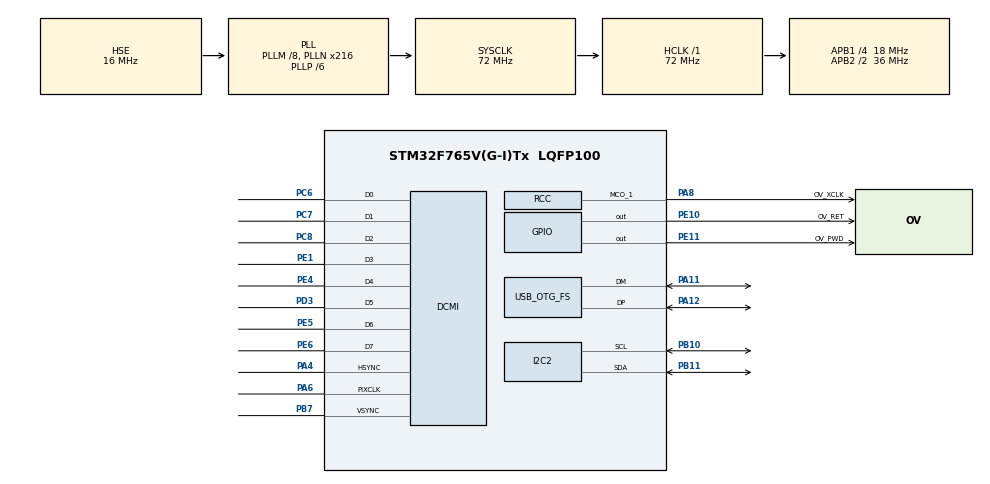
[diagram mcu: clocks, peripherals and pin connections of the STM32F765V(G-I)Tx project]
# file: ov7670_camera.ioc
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CORTEX_M7.default_mode_Activation=1
DCMI.JPEGMode=DCMI_JPEG_DISABLE
DCMI.PCKPolarity=DCMI_PCKPOLARITY_RISING
DCMI.VSPolarity=DCMI_VSPOLARITY_HIGH
Dma.DCMI.0.Direction=DMA_PERIPH_TO_MEMORY
Dma.DCMI.0.FIFOMode=DMA_FIFOMODE_DISABLE
Dma.DCMI.0.Instance=DMA2_Stream1
Dma.DCMI.0.MemDataAlignment=DMA_MDATAALIGN_WORD
Dma.DCMI.0.MemInc=DMA_MINC_ENABLE
Dma.DCMI.0.Mode=DMA_NORMAL
Dma.DCMI.0.PeriphDataAlignment=DMA_PDATAALIGN_WORD
Dma.DCMI.0.PeriphInc=DMA_PINC_DISABLE
Dma.DCMI.0.Priority=DMA_PRIORITY_LOW
Dma.Request0=DCMI
I2C2.Timing=0x20404768
Mcu.Family=STM32F7
Mcu.Name=STM32F765V(G-I)Tx
Mcu.Package=LQFP100
NVIC.DCMI_IRQn=true\:0\:0\:false\:false\:true\:true\:true\:true
NVIC.DMA2_Stream1_IRQn=true\:0\:0\:false\:false\:true\:false\:true\:true
NVIC.OTG_FS_IRQn=true\:0\:0\:false\:false\:true\:false\:true\:true
NVIC.PriorityGroup=NVIC_PRIORITYGROUP_4
PA11.Mode=Device_Only
PA11.Signal=USB_OTG_FS_DM
PA12.Mode=Device_Only
PA12.Signal=USB_OTG_FS_DP
PA13.Mode=Serial_Wire
PA13.Signal=SYS_JTMS-SWDIO
PA14.Mode=Serial_Wire
PA14.Signal=SYS_JTCK-SWCLK
PA4.GPIO_PuPd=GPIO_PULLDOWN
PA4.GPIO_Speed=GPIO_SPEED_FREQ_VERY_HIGH
PA4.Mode=Slave_8_bits_External_Synchro
PA4.Signal=DCMI_HSYNC
PA6.GPIO_PuPd=GPIO_PULLDOWN
PA6.GPIO_Speed=GPIO_SPEED_FREQ_VERY_HIGH
PA6.Mode=Slave_8_bits_External_Synchro
PA6.Signal=DCMI_PIXCLK
PA8.GPIO_Label=OV_XCLK
PA8.GPIO_Speed=GPIO_SPEED_FREQ_VERY_HIGH
PA8.Mode=Clock-out-1
PA8.Signal=RCC_MCO_1
PB10.GPIO_Pu=GPIO_PULLUP
PB10.Mode=I2C
PB10.Signal=I2C2_SCL
PB11.GPIO_Pu=GPIO_PULLUP
PB11.Mode=I2C
PB11.Signal=I2C2_SDA
PB7.GPIO_PuPd=GPIO_PULLDOWN
PB7.GPIO_Speed=GPIO_SPEED_FREQ_VERY_HIGH
PB7.Mode=Slave_8_bits_External_Synchro
PB7.Signal=DCMI_VSYNC
PC6.GPIO_PuPd=GPIO_PULLDOWN
PC6.GPIO_Speed=GPIO_SPEED_FREQ_VERY_HIGH
PC6.Mode=Slave_8_bits_External_Synchro
PC6.Signal=DCMI_D0
PC7.GPIO_PuPd=GPIO_PULLDOWN
PC7.GPIO_Speed=GPIO_SPEED_FREQ_VERY_HIGH
PC7.Mode=Slave_8_bits_External_Synchro
PC7.Signal=DCMI_D1
PC8.GPIO_PuPd=GPIO_PULLDOWN
PC8.GPIO_Speed=GPIO_SPEED_FREQ_VERY_HIGH
PC8.Mode=Slave_8_bits_External_Synchro
PC8.Signal=DCMI_D2
PD3.GPIO_PuPd=GPIO_PULLDOWN
PD3.GPIO_Speed=GPIO_SPEED_FREQ_VERY_HIGH
PD3.Mode=Slave_8_bits_External_Synchro
PD3.Signal=DCMI_D5
PE1.GPIO_PuPd=GPIO_PULLDOWN
PE1.GPIO_Speed=GPIO_SPEED_FREQ_VERY_HIGH
PE1.Mode=Slave_8_bits_External_Synchro
PE1.Signal=DCMI_D3
PE10.GPIO_Label=OV_RET
PE10.Signal=GPIO_Output
PE11.GPIO_Label=OV_PWD
PE11.Signal=GPIO_Output
PE4.GPIO_PuPd=GPIO_PULLDOWN
PE4.GPIO_Speed=GPIO_SPEED_FREQ_VERY_HIGH
PE4.Mode=Slave_8_bits_External_Synchro
PE4.Signal=DCMI_D4
PE5.GPIO_PuPd=GPIO_PULLDOWN
PE5.GPIO_Speed=GPIO_SPEED_FREQ_VERY_HIGH
PE5.Mode=Slave_8_bits_External_Synchro
PE5.Signal=DCMI_D6
PE6.GPIO_PuPd=GPIO_PULLDOWN
PE6.GPIO_Speed=GPIO_SPEED_FREQ_VERY_HIGH
PE6.Mode=Slave_8_bits_External_Synchro
PE6.Signal=DCMI_D7
PH0/OSC_IN.Mode=HSE-External-Oscillator
PH0/OSC_IN.Signal=RCC_OSC_IN
PH1/OSC_OUT.Mode=HSE-External-Oscillator
PH1/OSC_OUT.Signal=RCC_OSC_OUT
ProjectManager.HeapSize=0x200
ProjectManager.StackSize=0x400
ProjectManager.TargetToolchain=CMake
RCC.AHBFreq_Value=72000000
RCC.APB1CLKDivider=RCC_HCLK_DIV4
RCC.APB1Freq_Value=18000000
RCC.APB1TimFreq_Value=36000000
RCC.APB2CLKDivider=RCC_HCLK_DIV2
RCC.APB2Freq_Value=36000000
RCC.APB2TimFreq_Value=72000000
RCC.CortexFreq_Value=72000000
RCC.HCLKFreq_Value=72000000
RCC.HSE_VALUE=16000000
RCC.HSI_VALUE=16000000
RCC.LSE_VALUE=32768
RCC.PLLM=8
RCC.PLLN=216
RCC.PLLP=RCC_PLLP_DIV6
RCC.PLLQ=9
RCC.RCC_MCO1Source=RCC_MCO1SOURCE_PLLCLK
RCC.RCC_MCODiv1=RCC_MCODIV_3
RCC.SYSCLKFreq_VALUE=72000000
RCC.SYSCLKSource=RCC_SYSCLKSOURCE_PLLCLK
RCC.USBFreq_Value=48000000
RCC.VCOOutputFreq_Value=432000000
USB_DEVICE.CLASS_NAME_FS=CDC
USB_DEVICE.VirtualMode-CDC_FS=Cdc
USB_DEVICE.VirtualModeFS=Cdc_FS
USB_OTG_FS.VirtualMode=Device_Only
VP_USB_DEVICE_VS_USB_DEVICE_CDC_FS.Mode=CDC_FS
board=custom

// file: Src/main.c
/* USER CODE BEGIN Header */
/**
 ******************************************************************************
 * @file           : main.c
 * @brief          : Main program body
 ******************************************************************************
 * @attention
 *
 * Copyright (c) 2026 STMicroelectronics.
 * All rights reserved.
 *
 * This software is licensed under terms that can be found in the LICENSE file
 * in the root directory of this software component.
 * If no LICENSE file comes with this software, it is provided AS-IS.
 *
 ******************************************************************************
 */
/* USER CODE END Header */
#include "main.h"
#include "usb_device.h"

/* USER CODE BEGIN Includes */
#include "my_usb.h"
#include "usbd_cdc_if.h"
#include <stdint.h>
/* USER CODE END Includes */

/* USER CODE BEGIN PD */
#define CHUNK_SIZE 512
#define OV7670_ADDR (0x21 << 1)
#ifndef MIN
#define MIN(a, b) ((a) < (b) ? (a) : (b))
#endif
/* USER CODE END PD */

DCMI_HandleTypeDef hdcmi;
DMA_HandleTypeDef hdma_dcmi;

I2C_HandleTypeDef hi2c2;

/* USER CODE BEGIN PV */
volatile uint8_t frame_ready = 0;
uint8_t frame_buffer[320 * 240 * 2] __attribute__((section(".sram")));

/* USER CODE END PV */

void SystemClock_Config(void);
static void MPU_Config(void);
static void MX_GPIO_Init(void);
static void MX_DMA_Init(void);
static void MX_DCMI_Init(void);
static void MX_I2C2_Init(void);
/* USER CODE BEGIN PFP */
void HAL_DCMI_FrameEventCallback(DCMI_HandleTypeDef* hdcmi);
void capture_and_send(void);
void OV7670_HardwareReset(void);
uint8_t OV7670_ReadReg(uint8_t reg);
void OV7670_WriteReg(uint8_t reg, uint8_t value);
void send_frame_usb(void);
static void OV7670_Init_QVGA_RGB565(void);
static void OV7670_BarsTest(void);
/* USER CODE END PFP */

int main(void) {

    /* MPU Configuration--------------------------------------------------------*/
    MPU_Config();

    /* MCU Configuration--------------------------------------------------------*/

    /* Reset of all peripherals, Initializes the Flash interface and the Systick. */
    HAL_Init();

    /* Configure the system clock */
    SystemClock_Config();

    /* Initialize all configured peripherals */
    MX_GPIO_Init();
    MX_DMA_Init();
    MX_DCMI_Init();
    MX_I2C2_Init();
    MX_USB_DEVICE_Init();
    /* USER CODE BEGIN 2 */
    HAL_Delay(3000);

    USB_Print("Resetting OV7670 Camera\r\n");
    OV7670_HardwareReset();
    USB_Print("Validating PID and Version of OV7670 Camera\r\n");
    uint8_t pid = OV7670_ReadReg(0x0A);
    uint8_t ver = OV7670_ReadReg(0x0B);
    USB_Print("PID: %02X VER: %02X\r\n", pid, ver);

    if (pid == 0x76) {
        USB_Print("OV7670 detected\r\n");

        OV7670_Init_QVGA_RGB565();

        USB_Print("OV7670 configured\r\n");
    } else {
        USB_Print("Camera not detected\r\n");
        exit(-1);
    }

    USB_Print("COM7  = %02X\r\n", OV7670_ReadReg(0x12));
    USB_Print("CLKRC = %02X\r\n", OV7670_ReadReg(0x11));
    USB_Print("COM15 = %02X\r\n", OV7670_ReadReg(0x40));
    USB_Print("RGB444= %02X\r\n", OV7670_ReadReg(0x8C));

    USB_Print("Beginning Capture and Transmit Sequence with OV7670\r\n");
    OV7670_Init_QVGA_RGB565();
    USB_Print("Performing Bar Test");
    OV7670_BarsTest();
    /* USER CODE END 2 */

    /* Infinite loop */
    /* USER CODE BEGIN WHILE */
    while (1) {
        USB_Print("Sending Frame!!!!!!");
        capture_and_send();
        send_frame_usb();
        USB_Print("Frame sent\r\n");
        HAL_Delay(1000);
        /* USER CODE END WHILE */

    }
}

void SystemClock_Config(void) {
    RCC_OscInitTypeDef RCC_OscInitStruct = {0};
    RCC_ClkInitTypeDef RCC_ClkInitStruct = {0};

    /** Configure the main internal regulator output voltage
     */
    __HAL_RCC_PWR_CLK_ENABLE();
    __HAL_PWR_VOLTAGESCALING_CONFIG(PWR_REGULATOR_VOLTAGE_SCALE3);

    /** Initializes the RCC Oscillators according to the specified parameters
     * in the RCC_OscInitTypeDef structure.
     */
    RCC_OscInitStruct.OscillatorType = RCC_OSCILLATORTYPE_HSE;
    RCC_OscInitStruct.HSEState = RCC_HSE_ON;
    RCC_OscInitStruct.PLL.PLLState = RCC_PLL_ON;
    RCC_OscInitStruct.PLL.PLLSource = RCC_PLLSOURCE_HSE;
    RCC_OscInitStruct.PLL.PLLM = 8;
    RCC_OscInitStruct.PLL.PLLN = 216;
    RCC_OscInitStruct.PLL.PLLP = RCC_PLLP_DIV6;
    RCC_OscInitStruct.PLL.PLLQ = 9;
    RCC_OscInitStruct.PLL.PLLR = 2;
    if (HAL_RCC_OscConfig(&RCC_OscInitStruct) != HAL_OK) {
        Error_Handler();
    }

    /** Initializes the CPU, AHB and APB buses clocks
     */
    RCC_ClkInitStruct.ClockType =
        RCC_CLOCKTYPE_HCLK | RCC_CLOCKTYPE_SYSCLK | RCC_CLOCKTYPE_PCLK1 | RCC_CLOCKTYPE_PCLK2;
    RCC_ClkInitStruct.SYSCLKSource = RCC_SYSCLKSOURCE_PLLCLK;
    RCC_ClkInitStruct.AHBCLKDivider = RCC_SYSCLK_DIV1;
    RCC_ClkInitStruct.APB1CLKDivider = RCC_HCLK_DIV4;
    RCC_ClkInitStruct.APB2CLKDivider = RCC_HCLK_DIV2;

    if (HAL_RCC_ClockConfig(&RCC_ClkInitStruct, FLASH_LATENCY_2) != HAL_OK) {
        Error_Handler();
    }
    HAL_RCC_MCOConfig(RCC_MCO1, RCC_MCO1SOURCE_PLLCLK, RCC_MCODIV_3);
}

static void MX_DCMI_Init(void) {

    hdcmi.Instance = DCMI;
    hdcmi.Init.SynchroMode = DCMI_SYNCHRO_HARDWARE;
    hdcmi.Init.PCKPolarity = DCMI_PCKPOLARITY_RISING;
    hdcmi.Init.VSPolarity = DCMI_VSPOLARITY_HIGH;
    hdcmi.Init.HSPolarity = DCMI_HSPOLARITY_LOW;
    hdcmi.Init.CaptureRate = DCMI_CR_ALL_FRAME;
    hdcmi.Init.ExtendedDataMode = DCMI_EXTEND_DATA_8B;
    hdcmi.Init.JPEGMode = DCMI_JPEG_DISABLE;
    hdcmi.Init.ByteSelectMode = DCMI_BSM_ALL;
    hdcmi.Init.ByteSelectStart = DCMI_OEBS_ODD;
    hdcmi.Init.LineSelectMode = DCMI_LSM_ALL;
    hdcmi.Init.LineSelectStart = DCMI_OELS_ODD;
    if (HAL_DCMI_Init(&hdcmi) != HAL_OK) {
        Error_Handler();
    }
}

static void MX_I2C2_Init(void) {

    hi2c2.Instance = I2C2;
    hi2c2.Init.Timing = 0x20404768;
    hi2c2.Init.OwnAddress1 = 0;
    hi2c2.Init.AddressingMode = I2C_ADDRESSINGMODE_7BIT;
    hi2c2.Init.DualAddressMode = I2C_DUALADDRESS_DISABLE;
    hi2c2.Init.OwnAddress2 = 0;
    hi2c2.Init.OwnAddress2Masks = I2C_OA2_NOMASK;
    hi2c2.Init.GeneralCallMode = I2C_GENERALCALL_DISABLE;
    hi2c2.Init.NoStretchMode = I2C_NOSTRETCH_DISABLE;
    if (HAL_I2C_Init(&hi2c2) != HAL_OK) {
        Error_Handler();
    }

    /** Configure Analogue filter
     */
    if (HAL_I2CEx_ConfigAnalogFilter(&hi2c2, I2C_ANALOGFILTER_ENABLE) != HAL_OK) {
        Error_Handler();
    }

    /** Configure Digital filter
     */
    if (HAL_I2CEx_ConfigDigitalFilter(&hi2c2, 0) != HAL_OK) {
        Error_Handler();
    }
}

static void MX_DMA_Init(void) {

    /* DMA controller clock enable */
    __HAL_RCC_DMA2_CLK_ENABLE();

    /* DMA interrupt init */
    /* DMA2_Stream1_IRQn interrupt configuration */
    HAL_NVIC_SetPriority(DMA2_Stream1_IRQn, 0, 0);
    HAL_NVIC_EnableIRQ(DMA2_Stream1_IRQn);
}

static void MX_GPIO_Init(void) {
    GPIO_InitTypeDef GPIO_InitStruct = {0};

    /* GPIO Ports Clock Enable */
    __HAL_RCC_GPIOE_CLK_ENABLE();
    __HAL_RCC_GPIOH_CLK_ENABLE();
    __HAL_RCC_GPIOA_CLK_ENABLE();
    __HAL_RCC_GPIOB_CLK_ENABLE();
    __HAL_RCC_GPIOC_CLK_ENABLE();
    __HAL_RCC_GPIOD_CLK_ENABLE();

    /*Configure GPIO pin Output Level */
    HAL_GPIO_WritePin(GPIOE, OV_RET_Pin | OV_PWD_Pin, GPIO_PIN_RESET);

    /*Configure GPIO pins : OV_RET_Pin OV_PWD_Pin */
    GPIO_InitStruct.Pin = OV_RET_Pin | OV_PWD_Pin;
    GPIO_InitStruct.Mode = GPIO_MODE_OUTPUT_PP;
    GPIO_InitStruct.Pull = GPIO_NOPULL;
    GPIO_InitStruct.Speed = GPIO_SPEED_FREQ_LOW;
    HAL_GPIO_Init(GPIOE, &GPIO_InitStruct);

    /*Configure GPIO pin : OV_XCLK_Pin */
    GPIO_InitStruct.Pin = OV_XCLK_Pin;
    GPIO_InitStruct.Mode = GPIO_MODE_AF_PP;
    GPIO_InitStruct.Pull = GPIO_NOPULL;
    GPIO_InitStruct.Speed = GPIO_SPEED_FREQ_VERY_HIGH;
    GPIO_InitStruct.Alternate = GPIO_AF0_MCO;
    HAL_GPIO_Init(OV_XCLK_GPIO_Port, &GPIO_InitStruct);

}

/* USER CODE BEGIN 4 */
void HAL_DCMI_FrameEventCallback(DCMI_HandleTypeDef* hdcmi) {
    // USB_Print("Frame callback\r\n");
    frame_ready = 1;
}

void capture_and_send(void) {
    frame_ready = 0;

    // Start single-frame capture via DMA
    if (HAL_DCMI_Start_DMA(&hdcmi, DCMI_MODE_SNAPSHOT, (uint32_t)frame_buffer,
                           (320 * 240 * 2) / 4) != HAL_OK) {
        USB_Print("DCMI DMA start failed\r\n");
        return;
    }
    // Wait for frame
    uint32_t start = HAL_GetTick();

    while (!frame_ready) {
        if (HAL_GetTick() - start > 3000) {
            USB_Print("Frame timeout\r\n");
            HAL_DCMI_Stop(&hdcmi);
            return;
        }
    }
    SCB_InvalidateDCache_by_Addr((uint32_t*)frame_buffer, sizeof(frame_buffer));
}

void send_frame_usb(void) {
    uint32_t total = 320 * 240 * 2;
    uint32_t offset = 0;

    while (offset < total) {
        uint32_t len = MIN(CHUNK_SIZE, total - offset);

        // Wait until USB is ready
        while (CDC_Transmit_FS(&frame_buffer[offset], len) == USBD_BUSY)
            ;

        offset += len;
        HAL_Delay(1); // Small delay to avoid overwhelming host
    }
}

void OV7670_HardwareReset(void) {
    HAL_GPIO_WritePin(GPIOE, OV_PWD_Pin, GPIO_PIN_RESET);

    HAL_GPIO_WritePin(GPIOE, OV_RET_Pin, GPIO_PIN_RESET);
    HAL_Delay(10);

    HAL_GPIO_WritePin(GPIOE, OV_RET_Pin, GPIO_PIN_SET);
    HAL_Delay(10);
}
uint8_t OV7670_ReadReg(uint8_t reg) {
    uint8_t data;

    HAL_I2C_Master_Transmit(&hi2c2, OV7670_ADDR, &reg, 1, HAL_MAX_DELAY);

    HAL_I2C_Master_Receive(&hi2c2, OV7670_ADDR, &data, 1, HAL_MAX_DELAY);

    return data;
}
void OV7670_WriteReg(uint8_t reg, uint8_t value) {
    uint8_t data[2] = {reg, value};

    HAL_I2C_Master_Transmit(&hi2c2, OV7670_ADDR, data, 2, HAL_MAX_DELAY);
}

static void OV7670_Init_QVGA_RGB565(void) {
    OV7670_WriteReg(0x12, 0x80); // Reset all registers
    HAL_Delay(100);
    /*j
    OV7670_WriteReg(0x11, 0x01);
    OV7670_WriteReg(0x12, 0x00);
    OV7670_WriteReg(0x0C, 0x04);
    OV7670_WriteReg(0x3E, 0x19);
    OV7670_WriteReg(0x70, 0x3A);
    OV7670_WriteReg(0x71, 0x35);
    OV7670_WriteReg(0x72, 0x11);
    OV7670_WriteReg(0x73, 0xF1);
    OV7670_WriteReg(0xA2, 0x02);
    */
    // Temporary Stopping
    OV7670_WriteReg(0x12, 0x14); // Set to QVGA and RGB output. RGB565 will be configured after
    OV7670_WriteReg(0x0C, 0x06);
    OV7670_WriteReg(0x11,
                    0b01000001); // 0x80 || 0x00 for default value OR'd with no scaling on PCLK
    OV7670_WriteReg(0x3E, 0x18);
    OV7670_WriteReg(0x40, 0xD0);
    OV7670_WriteReg(0x70, 0x3A);
    OV7670_WriteReg(0x71, 0x35);
    OV7670_WriteReg(0x72, 0x11);
    OV7670_WriteReg(0x73, 0xF8);
    OV7670_WriteReg(0x8C, 0x00);
    OV7670_WriteReg(0xA2, 0x02);

    OV7670_WriteReg(0x17, 0x16);
    OV7670_WriteReg(0x18, 0x04);
    OV7670_WriteReg(0x32, 0x00);

    OV7670_WriteReg(0x19, 0x02);
    OV7670_WriteReg(0x1A, 0x7A);
    OV7670_WriteReg(0x03, 0x0A);
}

static void OV7670_BarsTest() {
    // OV7670_WriteReg(0x12, 0x16); // Set to QVGA and RGB output. RGB565 will be configured after
    uint8_t com17 = OV7670_ReadReg(0x42);
    OV7670_WriteReg(0x42, com17 | 0x08);
}

/*
static void OV7670_Init_QVGA_RGB565(void) {
    OV7670_WriteReg(0x12, 0x80); // Reset all registers

    OV7670_WriteReg(0x12, 0x80);
    HAL_Delay(100);

    OV7670_WriteReg(0x12, 0x14);
    OV7670_WriteReg(0x40, 0xD0);
    OV7670_WriteReg(0x8C, 0x00);
    OV7670_WriteReg(0x3A, 0x04);

    OV7670_WriteReg(0x17, 0x16);
    OV7670_WriteReg(0x18, 0x04);
    OV7670_WriteReg(0x32, 0x80);

    OV7670_WriteReg(0x19, 0x02);
    OV7670_WriteReg(0x1A, 0x7A);
    OV7670_WriteReg(0x03, 0x0A);

    OV7670_WriteReg(0x0C, 0x00);
    OV7670_WriteReg(0x3E, 0x00);

    OV7670_WriteReg(0x70, 0x3A);
    OV7670_WriteReg(0x71, 0x35);
    OV7670_WriteReg(0x72, 0x11);
    OV7670_WriteReg(0x73, 0xF0);

    OV7670_WriteReg(0xA2, 0x02);

    OV7670_WriteReg(0x11, 0x01);

    HAL_Delay(50);
}
*/

/* USER CODE END 4 */

/* MPU Configuration */

void MPU_Config(void) {
    MPU_Region_InitTypeDef MPU_InitStruct = {0};

    /* Disables the MPU */
    HAL_MPU_Disable();

    /** Initializes and configures the Region and the memory to be protected
     */
    MPU_InitStruct.Enable = MPU_REGION_ENABLE;
    MPU_InitStruct.Number = MPU_REGION_NUMBER0;
    MPU_InitStruct.BaseAddress = 0x0;
    MPU_InitStruct.Size = MPU_REGION_SIZE_4GB;
    MPU_InitStruct.SubRegionDisable = 0x87;
    MPU_InitStruct.TypeExtField = MPU_TEX_LEVEL0;
    MPU_InitStruct.AccessPermission = MPU_REGION_NO_ACCESS;
    MPU_InitStruct.DisableExec = MPU_INSTRUCTION_ACCESS_DISABLE;
    MPU_InitStruct.IsShareable = MPU_ACCESS_SHAREABLE;
    MPU_InitStruct.IsCacheable = MPU_ACCESS_NOT_CACHEABLE;
    MPU_InitStruct.IsBufferable = MPU_ACCESS_NOT_BUFFERABLE;

    HAL_MPU_ConfigRegion(&MPU_InitStruct);
    /* Enables the MPU */
    HAL_MPU_Enable(MPU_PRIVILEGED_DEFAULT);
}

void Error_Handler(void) {
    __disable_irq();
    while (1) {
    }
}
